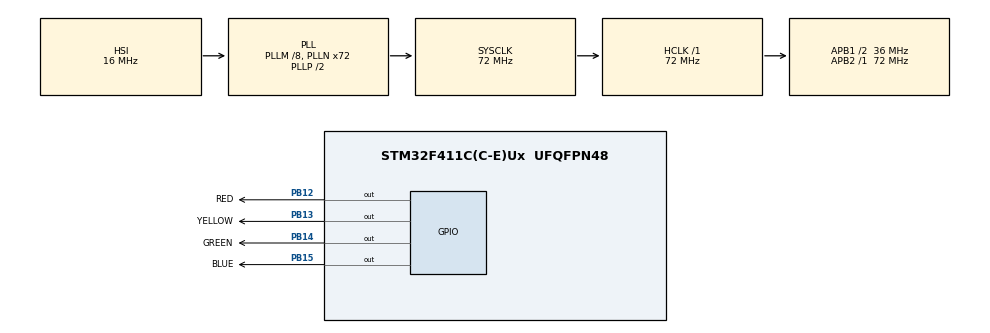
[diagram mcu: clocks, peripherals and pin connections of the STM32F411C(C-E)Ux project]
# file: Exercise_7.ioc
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FREERTOS.Tasks01=defaultTask,24,128,StartDefaultTask,Default,NULL,Dynamic,NULL,NULL;GREENLEDTASK,24,128,GREENLED,Default,NULL,Dynamic,NULL,NULL;REDLEDTASK,24,128,REDLED,Default,NULL,Dynamic,NULL,NULL;YELLOWLEDTASK,32,128,YELLOWLED,Default,NULL,Dynamic,NULL,NULL
Mcu.Family=STM32F4
Mcu.Name=STM32F411C(C-E)Ux
Mcu.Package=UFQFPN48
NVIC.PriorityGroup=NVIC_PRIORITYGROUP_4
NVIC.TIM4_IRQn=true\:15\:0\:false\:false\:true\:false\:true\:true\:true
NVIC.TimeBase=TIM4_IRQn
NVIC.TimeBaseIP=TIM4
PA13.Mode=Trace_Asynchronous_SW
PA13.Signal=SYS_JTMS-SWDIO
PA14.Mode=Trace_Asynchronous_SW
PA14.Signal=SYS_JTCK-SWCLK
PB12.GPIO_Label=RED
PB12.Signal=GPIO_Output
PB13.GPIO_Label=YELLOW
PB13.Signal=GPIO_Output
PB14.GPIO_Label=GREEN
PB14.Signal=GPIO_Output
PB15.GPIO_Label=BLUE
PB15.Signal=GPIO_Output
PB3.Mode=Trace_Asynchronous_SW
PB3.Signal=SYS_JTDO-SWO
ProjectManager.HeapSize=0x200
ProjectManager.StackSize=0x400
ProjectManager.TargetToolchain=STM32CubeIDE
RCC.48MHZClocksFreq_Value=36000000
RCC.AHBFreq_Value=72000000
RCC.APB1CLKDivider=RCC_HCLK_DIV2
RCC.APB1Freq_Value=36000000
RCC.APB1TimFreq_Value=72000000
RCC.APB2Freq_Value=72000000
RCC.APB2TimFreq_Value=72000000
RCC.CortexFreq_Value=72000000
RCC.HCLKFreq_Value=72000000
RCC.HSE_VALUE=25000000
RCC.HSI_VALUE=16000000
RCC.LSE_VALUE=32768
RCC.PLLM=8
RCC.PLLN=72
RCC.SYSCLKFreq_VALUE=72000000
RCC.SYSCLKSource=RCC_SYSCLKSOURCE_PLLCLK
RCC.VCOOutputFreq_Value=144000000
VP_FREERTOS_VS_CMSIS_V2.Mode=CMSIS_V2
VP_SYS_VS_tim4.Mode=TIM4
board=custom

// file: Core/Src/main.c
/* USER CODE BEGIN Header */
/**
  ******************************************************************************
  * @file           : main.c
  * @brief          : Main program body
  ******************************************************************************
  * @attention
  *
  * Copyright (c) 2024 STMicroelectronics.
  * All rights reserved.
  *
  * This software is licensed under terms that can be found in the LICENSE file
  * in the root directory of this software component.
  * If no LICENSE file comes with this software, it is provided AS-IS.
  *
  ******************************************************************************
  */
/* USER CODE END Header */
#include "main.h"
#include "cmsis_os.h"

/* USER CODE BEGIN PD */
#define HIGH GPIO_PIN_RESET
#define LOW GPIO_PIN_SET
/* USER CODE END PD */

/* Definitions for defaultTask */
osThreadId_t defaultTaskHandle;
const osThreadAttr_t defaultTask_attributes = {
  .name = "defaultTask",
  .stack_size = 128 * 4,
  .priority = (osPriority_t) osPriorityNormal,
};
/* Definitions for GREENLEDTASK */
osThreadId_t GREENLEDTASKHandle;
const osThreadAttr_t GREENLEDTASK_attributes = {
  .name = "GREENLEDTASK",
  .stack_size = 128 * 4,
  .priority = (osPriority_t) osPriorityNormal,
};
/* Definitions for REDLEDTASK */
osThreadId_t REDLEDTASKHandle;
const osThreadAttr_t REDLEDTASK_attributes = {
  .name = "REDLEDTASK",
  .stack_size = 128 * 4,
  .priority = (osPriority_t) osPriorityNormal,
};
/* Definitions for YELLOWLEDTASK */
osThreadId_t YELLOWLEDTASKHandle;
const osThreadAttr_t YELLOWLEDTASK_attributes = {
  .name = "YELLOWLEDTASK",
  .stack_size = 128 * 4,
  .priority = (osPriority_t) osPriorityAboveNormal,
};
/* USER CODE BEGIN PV */
uint8_t StartFlag;
volatile uint8_t RedFlag;
volatile uint8_t GreenFlag;
/* USER CODE END PV */

void SystemClock_Config(void);
static void MX_GPIO_Init(void);
void StartDefaultTask(void *argument);
void GREENLED(void *argument);
void REDLED(void *argument);
void YELLOWLED(void *argument);

int main(void)
{

  /* USER CODE BEGIN 1 */
		StartFlag = 1;
		GreenFlag = 1;
		RedFlag = 1;
  /* USER CODE END 1 */

  /* MCU Configuration--------------------------------------------------------*/

  /* Reset of all peripherals, Initializes the Flash interface and the Systick. */
  HAL_Init();

  /* Configure the system clock */
  SystemClock_Config();

  /* Initialize all configured peripherals */
  MX_GPIO_Init();
  /* USER CODE BEGIN 2 */
  HAL_GPIO_WritePin(BLUE_GPIO_Port, BLUE_Pin, HIGH);
  /* USER CODE END 2 */

  /* Init scheduler */
  osKernelInitialize();

  /* Create the thread(s) */
  /* creation of defaultTask */
  defaultTaskHandle = osThreadNew(StartDefaultTask, NULL, &defaultTask_attributes);

  /* creation of GREENLEDTASK */
  GREENLEDTASKHandle = osThreadNew(GREENLED, NULL, &GREENLEDTASK_attributes);

  /* creation of REDLEDTASK */
  REDLEDTASKHandle = osThreadNew(REDLED, NULL, &REDLEDTASK_attributes);

  /* creation of YELLOWLEDTASK */
  YELLOWLEDTASKHandle = osThreadNew(YELLOWLED, NULL, &YELLOWLEDTASK_attributes);

  /* Start scheduler */
  osKernelStart();

  /* We should never get here as control is now taken by the scheduler */

  /* Infinite loop */
  while (1)
  {

  }
}

void SystemClock_Config(void)
{
  RCC_OscInitTypeDef RCC_OscInitStruct = {0};
  RCC_ClkInitTypeDef RCC_ClkInitStruct = {0};

  /** Configure the main internal regulator output voltage
  */
  __HAL_RCC_PWR_CLK_ENABLE();
  __HAL_PWR_VOLTAGESCALING_CONFIG(PWR_REGULATOR_VOLTAGE_SCALE1);

  /** Initializes the RCC Oscillators according to the specified parameters
  * in the RCC_OscInitTypeDef structure.
  */
  RCC_OscInitStruct.OscillatorType = RCC_OSCILLATORTYPE_HSI;
  RCC_OscInitStruct.HSIState = RCC_HSI_ON;
  RCC_OscInitStruct.HSICalibrationValue = RCC_HSICALIBRATION_DEFAULT;
  RCC_OscInitStruct.PLL.PLLState = RCC_PLL_ON;
  RCC_OscInitStruct.PLL.PLLSource = RCC_PLLSOURCE_HSI;
  RCC_OscInitStruct.PLL.PLLM = 8;
  RCC_OscInitStruct.PLL.PLLN = 72;
  RCC_OscInitStruct.PLL.PLLP = RCC_PLLP_DIV2;
  RCC_OscInitStruct.PLL.PLLQ = 4;
  if (HAL_RCC_OscConfig(&RCC_OscInitStruct) != HAL_OK)
  {
    Error_Handler();
  }

  /** Initializes the CPU, AHB and APB buses clocks
  */
  RCC_ClkInitStruct.ClockType = RCC_CLOCKTYPE_HCLK|RCC_CLOCKTYPE_SYSCLK
                              |RCC_CLOCKTYPE_PCLK1|RCC_CLOCKTYPE_PCLK2;
  RCC_ClkInitStruct.SYSCLKSource = RCC_SYSCLKSOURCE_PLLCLK;
  RCC_ClkInitStruct.AHBCLKDivider = RCC_SYSCLK_DIV1;
  RCC_ClkInitStruct.APB1CLKDivider = RCC_HCLK_DIV2;
  RCC_ClkInitStruct.APB2CLKDivider = RCC_HCLK_DIV1;

  if (HAL_RCC_ClockConfig(&RCC_ClkInitStruct, FLASH_LATENCY_2) != HAL_OK)
  {
    Error_Handler();
  }
}

static void MX_GPIO_Init(void)
{
  GPIO_InitTypeDef GPIO_InitStruct = {0};

  /* GPIO Ports Clock Enable */
  __HAL_RCC_GPIOB_CLK_ENABLE();
  __HAL_RCC_GPIOA_CLK_ENABLE();

  /*Configure GPIO pin Output Level */
  HAL_GPIO_WritePin(GPIOB, RED_Pin|YELLOW_Pin|GREEN_Pin|BLUE_Pin, GPIO_PIN_RESET);

  /*Configure GPIO pins : RED_Pin YELLOW_Pin GREEN_Pin BLUE_Pin */
  GPIO_InitStruct.Pin = RED_Pin|YELLOW_Pin|GREEN_Pin|BLUE_Pin;
  GPIO_InitStruct.Mode = GPIO_MODE_OUTPUT_PP;
  GPIO_InitStruct.Pull = GPIO_NOPULL;
  GPIO_InitStruct.Speed = GPIO_SPEED_FREQ_LOW;
  HAL_GPIO_Init(GPIOB, &GPIO_InitStruct);

}

/* USER CODE BEGIN 4 */
void AccessSharedData(void) {
    if (StartFlag == 1) {
        // Set Start flag to Down to indicate resource is in use
        StartFlag = 0;
    } else {
        // Resource contention: Turn on Blue LED
        HAL_GPIO_WritePin(BLUE_GPIO_Port, BLUE_Pin, HIGH);
    }

    // Simulate read/write operations with a delay of 500 milliseconds
    SimulateReadWriteOperation();

    // Set Start flag back to Up to indicate resource is free
    StartFlag = 1;

    // Turn off Blue LED (if it was turned on during contention)
    HAL_GPIO_WritePin(BLUE_GPIO_Port, BLUE_Pin, LOW);
}

void SimulateReadWriteOperation(void) {
    volatile uint32_t delay_count = 0;
    const uint32_t delay_target = 2000000; // Adjust this value to approximate 500 ms

    // Dummy loop to simulate processing time
    for (delay_count = 0; delay_count < delay_target; delay_count++) {
        __asm("nop"); // No Operation: Keeps the processor busy without changing code behavior
    }
}
/* USER CODE END 4 */

void StartDefaultTask(void *argument)
{
  for(;;)
  {
    osDelay(1);
  }
}

void GREENLED(void *argument)
{
  /* USER CODE BEGIN GREENLED */
  /* Infinite loop */
  for(;;)
  {
	  GreenFlag = 1;
	  	// Turn on Green LED
	  	HAL_GPIO_WritePin(GREEN_GPIO_Port, GREEN_Pin, HIGH);

	  	// Enter critical section
	  	 taskENTER_CRITICAL();
	  	AccessSharedData();
	  	 taskEXIT_CRITICAL(); // Corrected macro usage

	  	// Turn off Green LED
	  	osDelay(200);
	  	HAL_GPIO_WritePin(GREEN_GPIO_Port, GREEN_Pin, LOW);

	  	GreenFlag = 0;
	  	// Delay for 500 milliseconds
	  	osDelay(200);
  }
  /* USER CODE END GREENLED */
}

void REDLED(void *argument)
{
  /* USER CODE BEGIN REDLED */
  /* Infinite loop */
  for(;;)
  {
	  RedFlag = 1;
	  	// Turn on Red LED
	  	HAL_GPIO_WritePin(RED_GPIO_Port, RED_Pin, HIGH);

	  	// Enter critical section
	  	 taskENTER_CRITICAL();
	  	AccessSharedData();
	  	 taskEXIT_CRITICAL(); // Corrected macro usage

	  	// Turn off Red LED
	  	osDelay(550);
	  	HAL_GPIO_WritePin(RED_GPIO_Port, RED_Pin, LOW);

	  	RedFlag = 0;
	  	// Delay for 100 milliseconds
	  	osDelay(550);
  }
  /* USER CODE END REDLED */
}

void YELLOWLED(void *argument)
{
  /* USER CODE BEGIN YELLOWLED */
  /* Infinite loop */
  for(;;)
  {
	  HAL_GPIO_TogglePin(YELLOW_GPIO_Port, YELLOW_Pin);
	  	  osDelay(50);
  }
  /* USER CODE END YELLOWLED */
}

void HAL_TIM_PeriodElapsedCallback(TIM_HandleTypeDef *htim)
{
  if (htim->Instance == TIM4) {
    HAL_IncTick();
  }
}

void Error_Handler(void)
{
  __disable_irq();
  while (1)
  {
  }
}
